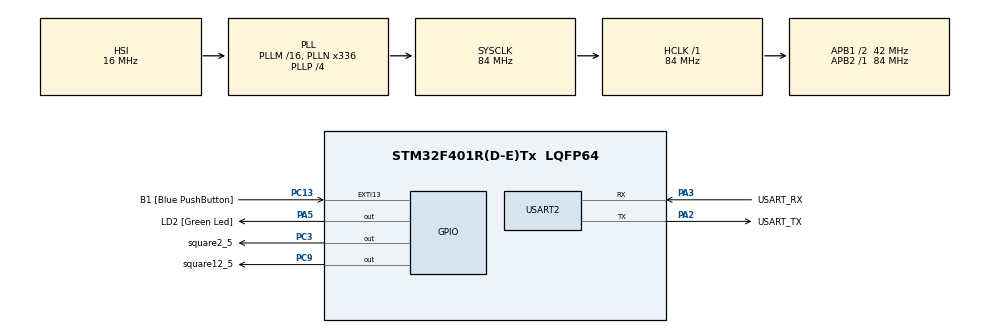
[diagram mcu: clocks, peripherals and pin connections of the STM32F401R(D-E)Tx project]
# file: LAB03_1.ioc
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Mcu.Family=STM32F4
Mcu.Name=STM32F401R(D-E)Tx
Mcu.Package=LQFP64
NVIC.PriorityGroup=NVIC_PRIORITYGROUP_0
PA13.GPIO_Label=TMS
PA13.Mode=Serial_Wire
PA13.Signal=SYS_JTMS-SWDIO
PA14.GPIO_Label=TCK
PA14.Mode=Serial_Wire
PA14.Signal=SYS_JTCK-SWCLK
PA2.GPIO_Label=USART_TX
PA2.GPIO_Mode=GPIO_MODE_AF_PP
PA2.GPIO_PuPd=GPIO_NOPULL
PA2.GPIO_Speed=GPIO_SPEED_FREQ_LOW
PA2.Mode=Asynchronous
PA2.Signal=USART2_TX
PA3.GPIO_Label=USART_RX
PA3.GPIO_Mode=GPIO_MODE_AF_PP
PA3.GPIO_PuPd=GPIO_NOPULL
PA3.GPIO_Speed=GPIO_SPEED_FREQ_LOW
PA3.Mode=Asynchronous
PA3.Signal=USART2_RX
PA5.GPIO_Label=LD2 [Green Led]
PA5.GPIO_Mode=GPIO_MODE_OUTPUT_PP
PA5.GPIO_PuPd=GPIO_NOPULL
PA5.GPIO_Speed=GPIO_SPEED_FREQ_LOW
PA5.Signal=GPIO_Output
PB3.GPIO_Label=SWO
PB3.Signal=SYS_JTDO-SWO
PC13-ANTI_TAMP.GPIO_Label=B1 [Blue PushButton]
PC13-ANTI_TAMP.GPIO_ModeDefaultEXTI=GPIO_MODE_IT_FALLING
PC13-ANTI_TAMP.GPIO_PuPd=GPIO_NOPULL
PC13-ANTI_TAMP.Signal=GPXTI13
PC14-OSC32_IN.Mode=LSE-External-Oscillator
PC14-OSC32_IN.Signal=RCC_OSC32_IN
PC15-OSC32_OUT.Mode=LSE-External-Oscillator
PC15-OSC32_OUT.Signal=RCC_OSC32_OUT
PC3.GPIO_Label=square2_5
PC3.Signal=GPIO_Output
PC9.GPIO_Label=square12_5
PC9.Signal=GPIO_Output
PH0\ -\ OSC_IN.Mode=HSE-External-Clock-Source
PH0\ -\ OSC_IN.Signal=RCC_OSC_IN
PH1\ -\ OSC_OUT.Mode=HSE-External-Clock-Source
PH1\ -\ OSC_OUT.Signal=RCC_OSC_OUT
ProjectManager.HeapSize=0x200
ProjectManager.StackSize=0x400
ProjectManager.TargetToolchain=STM32CubeIDE
RCC.48MHZClocksFreq_Value=48000000
RCC.AHBFreq_Value=84000000
RCC.APB1CLKDivider=RCC_HCLK_DIV2
RCC.APB1Freq_Value=42000000
RCC.APB1TimFreq_Value=84000000
RCC.APB2Freq_Value=84000000
RCC.APB2TimFreq_Value=84000000
RCC.CortexFreq_Value=84000000
RCC.HCLKFreq_Value=84000000
RCC.HSE_VALUE=8000000
RCC.HSI_VALUE=16000000
RCC.PLLN=336
RCC.PLLP=RCC_PLLP_DIV4
RCC.PLLQ=7
RCC.SYSCLKFreq_VALUE=84000000
RCC.SYSCLKSource=RCC_SYSCLKSOURCE_PLLCLK
RCC.VCOOutputFreq_Value=336000000
TIM3.Channel-Output\ Compare1\ No\ Output=TIM_CHANNEL_1
TIM3.Channel-Output\ Compare2\ No\ Output=TIM_CHANNEL_2
TIM3.Period=99
TIM3.Prescaler=335
TIM3.Pulse-Output\ Compare1\ No\ Output=0
USART2.VirtualMode=VM_ASYNC
VP_TIM3_VS_ClockSourceINT.Mode=Internal
VP_TIM3_VS_no_output1.Mode=Output Compare1 No Output
VP_TIM3_VS_no_output2.Mode=Output Compare2 No Output
board=NUCLEO-F401RE

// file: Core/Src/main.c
/* USER CODE BEGIN Header */
/**
  ******************************************************************************
  * @file           : main.c
  * @brief          : Main program body
  ******************************************************************************
  * @attention
  *
  * <h2><center>&copy; Copyright (c) 2023 STMicroelectronics.
  * All rights reserved.</center></h2>
  *
  * This software component is licensed by ST under BSD 3-Clause license,
  * the "License"; You may not use this file except in compliance with the
  * License. You may obtain a copy of the License at:
  *                        opensource.org/licenses/BSD-3-Clause
  *
  ******************************************************************************
  */
/* USER CODE END Header */
#include "main.h"

TIM_HandleTypeDef htim3;

UART_HandleTypeDef huart2;

void SystemClock_Config(void);
static void MX_GPIO_Init(void);
static void MX_USART2_UART_Init(void);
static void MX_TIM3_Init(void);

int main(void)
{

  /* MCU Configuration--------------------------------------------------------*/

  /* Reset of all peripherals, Initializes the Flash interface and the Systick. */
  HAL_Init();

  /* Configure the system clock */
  SystemClock_Config();

  /* Initialize all configured peripherals */
  MX_GPIO_Init();
  MX_USART2_UART_Init();
  MX_TIM3_Init();
  /* USER CODE BEGIN 2 */
  // set initial value of TIM3's channel x capture compare register
  TIM3->CCR1 = 49;
  TIM3->CCR2 = 10;
  // start channel 1 of timer 3 in OC mode
  HAL_TIM_OC_Start(&htim3,TIM_CHANNEL_1);
  // start channel 2 of timer 3 in OC mode
  HAL_TIM_OC_Start(&htim3,TIM_CHANNEL_2);
  /* USER CODE END 2 */

  /* Infinite loop */
  /* USER CODE BEGIN WHILE */
  while (1)
  {
	  // TIM_FLAG_UPDATE is set when the timer overflows, thus when
	  // its period has elapsed.
	  if(__HAL_TIM_GET_FLAG(&htim3, TIM_FLAG_UPDATE) != RESET){
		  // reset the flag
		  __HAL_TIM_CLEAR_FLAG(&htim3, TIM_FLAG_UPDATE);
		  // toggle the pin of the 2.5 khz wave
		  HAL_GPIO_TogglePin(GPIOC, GPIO_PIN_3);
		  // toggle the pin of the 12.5khz wave if CCR2 is at its max
		  if (TIM3->CCR2 == 90)
			  HAL_GPIO_TogglePin(GPIOC, GPIO_PIN_9);
		  // reset CCR2 to its initial value
		  TIM3->CCR2 = 10;
	  }
	  // TIM_FLAG_CCx is set by the x channel of &htimY timer
	  // thus when its value is != RESEt it means that a capture has happened
	  else if (__HAL_TIM_GET_FLAG(&htim3, TIM_FLAG_CC1) != RESET){
		  __HAL_TIM_CLEAR_FLAG(&htim3, TIM_FLAG_CC1);
		  HAL_GPIO_TogglePin(GPIOC, GPIO_PIN_3);
	  }
	  else if (__HAL_TIM_GET_FLAG(&htim3, TIM_FLAG_CC2) != RESET){
		  __HAL_TIM_CLEAR_FLAG(&htim3, TIM_FLAG_CC2);
		  HAL_GPIO_TogglePin(GPIOC, GPIO_PIN_9);
		  // if CCR2 is not at its maximum value
		  if (TIM3->CCR2 != 90){
			  // increase the value of CCR2 by 10
			  TIM3->CCR2 += 10;
		  }
	  }
    /* USER CODE END WHILE */

  }
}

void SystemClock_Config(void)
{
  RCC_OscInitTypeDef RCC_OscInitStruct = {0};
  RCC_ClkInitTypeDef RCC_ClkInitStruct = {0};

  /** Configure the main internal regulator output voltage
  */
  __HAL_RCC_PWR_CLK_ENABLE();
  __HAL_PWR_VOLTAGESCALING_CONFIG(PWR_REGULATOR_VOLTAGE_SCALE2);
  /** Initializes the RCC Oscillators according to the specified parameters
  * in the RCC_OscInitTypeDef structure.
  */
  RCC_OscInitStruct.OscillatorType = RCC_OSCILLATORTYPE_HSI;
  RCC_OscInitStruct.HSIState = RCC_HSI_ON;
  RCC_OscInitStruct.HSICalibrationValue = RCC_HSICALIBRATION_DEFAULT;
  RCC_OscInitStruct.PLL.PLLState = RCC_PLL_ON;
  RCC_OscInitStruct.PLL.PLLSource = RCC_PLLSOURCE_HSI;
  RCC_OscInitStruct.PLL.PLLM = 16;
  RCC_OscInitStruct.PLL.PLLN = 336;
  RCC_OscInitStruct.PLL.PLLP = RCC_PLLP_DIV4;
  RCC_OscInitStruct.PLL.PLLQ = 7;
  if (HAL_RCC_OscConfig(&RCC_OscInitStruct) != HAL_OK)
  {
    Error_Handler();
  }
  /** Initializes the CPU, AHB and APB buses clocks
  */
  RCC_ClkInitStruct.ClockType = RCC_CLOCKTYPE_HCLK|RCC_CLOCKTYPE_SYSCLK
                              |RCC_CLOCKTYPE_PCLK1|RCC_CLOCKTYPE_PCLK2;
  RCC_ClkInitStruct.SYSCLKSource = RCC_SYSCLKSOURCE_PLLCLK;
  RCC_ClkInitStruct.AHBCLKDivider = RCC_SYSCLK_DIV1;
  RCC_ClkInitStruct.APB1CLKDivider = RCC_HCLK_DIV2;
  RCC_ClkInitStruct.APB2CLKDivider = RCC_HCLK_DIV1;

  if (HAL_RCC_ClockConfig(&RCC_ClkInitStruct, FLASH_LATENCY_2) != HAL_OK)
  {
    Error_Handler();
  }
}

static void MX_TIM3_Init(void)
{

  TIM_ClockConfigTypeDef sClockSourceConfig = {0};
  TIM_MasterConfigTypeDef sMasterConfig = {0};
  TIM_OC_InitTypeDef sConfigOC = {0};

  htim3.Instance = TIM3;
  htim3.Init.Prescaler = 335;
  htim3.Init.CounterMode = TIM_COUNTERMODE_UP;
  htim3.Init.Period = 99;
  htim3.Init.ClockDivision = TIM_CLOCKDIVISION_DIV1;
  htim3.Init.AutoReloadPreload = TIM_AUTORELOAD_PRELOAD_DISABLE;
  if (HAL_TIM_Base_Init(&htim3) != HAL_OK)
  {
    Error_Handler();
  }
  sClockSourceConfig.ClockSource = TIM_CLOCKSOURCE_INTERNAL;
  if (HAL_TIM_ConfigClockSource(&htim3, &sClockSourceConfig) != HAL_OK)
  {
    Error_Handler();
  }
  if (HAL_TIM_OC_Init(&htim3) != HAL_OK)
  {
    Error_Handler();
  }
  sMasterConfig.MasterOutputTrigger = TIM_TRGO_RESET;
  sMasterConfig.MasterSlaveMode = TIM_MASTERSLAVEMODE_DISABLE;
  if (HAL_TIMEx_MasterConfigSynchronization(&htim3, &sMasterConfig) != HAL_OK)
  {
    Error_Handler();
  }
  sConfigOC.OCMode = TIM_OCMODE_TIMING;
  sConfigOC.Pulse = 0;
  sConfigOC.OCPolarity = TIM_OCPOLARITY_HIGH;
  sConfigOC.OCFastMode = TIM_OCFAST_DISABLE;
  if (HAL_TIM_OC_ConfigChannel(&htim3, &sConfigOC, TIM_CHANNEL_1) != HAL_OK)
  {
    Error_Handler();
  }
  if (HAL_TIM_OC_ConfigChannel(&htim3, &sConfigOC, TIM_CHANNEL_2) != HAL_OK)
  {
    Error_Handler();
  }

}

static void MX_USART2_UART_Init(void)
{

  huart2.Instance = USART2;
  huart2.Init.BaudRate = 115200;
  huart2.Init.WordLength = UART_WORDLENGTH_8B;
  huart2.Init.StopBits = UART_STOPBITS_1;
  huart2.Init.Parity = UART_PARITY_NONE;
  huart2.Init.Mode = UART_MODE_TX_RX;
  huart2.Init.HwFlowCtl = UART_HWCONTROL_NONE;
  huart2.Init.OverSampling = UART_OVERSAMPLING_16;
  if (HAL_UART_Init(&huart2) != HAL_OK)
  {
    Error_Handler();
  }

}

static void MX_GPIO_Init(void)
{
  GPIO_InitTypeDef GPIO_InitStruct = {0};

  /* GPIO Ports Clock Enable */
  __HAL_RCC_GPIOC_CLK_ENABLE();
  __HAL_RCC_GPIOH_CLK_ENABLE();
  __HAL_RCC_GPIOA_CLK_ENABLE();
  __HAL_RCC_GPIOB_CLK_ENABLE();

  /*Configure GPIO pin Output Level */
  HAL_GPIO_WritePin(GPIOC, square2_5_Pin|square12_5_Pin, GPIO_PIN_RESET);

  /*Configure GPIO pin Output Level */
  HAL_GPIO_WritePin(LD2_GPIO_Port, LD2_Pin, GPIO_PIN_RESET);

  /*Configure GPIO pin : B1_Pin */
  GPIO_InitStruct.Pin = B1_Pin;
  GPIO_InitStruct.Mode = GPIO_MODE_IT_FALLING;
  GPIO_InitStruct.Pull = GPIO_NOPULL;
  HAL_GPIO_Init(B1_GPIO_Port, &GPIO_InitStruct);

  /*Configure GPIO pins : square2_5_Pin square12_5_Pin */
  GPIO_InitStruct.Pin = square2_5_Pin|square12_5_Pin;
  GPIO_InitStruct.Mode = GPIO_MODE_OUTPUT_PP;
  GPIO_InitStruct.Pull = GPIO_NOPULL;
  GPIO_InitStruct.Speed = GPIO_SPEED_FREQ_LOW;
  HAL_GPIO_Init(GPIOC, &GPIO_InitStruct);

  /*Configure GPIO pin : LD2_Pin */
  GPIO_InitStruct.Pin = LD2_Pin;
  GPIO_InitStruct.Mode = GPIO_MODE_OUTPUT_PP;
  GPIO_InitStruct.Pull = GPIO_NOPULL;
  GPIO_InitStruct.Speed = GPIO_SPEED_FREQ_LOW;
  HAL_GPIO_Init(LD2_GPIO_Port, &GPIO_InitStruct);

}

void Error_Handler(void)
{
  __disable_irq();
  while (1)
  {
  }
}

/************************ (C) COPYRIGHT STMicroelectronics *****END OF FILE****/
